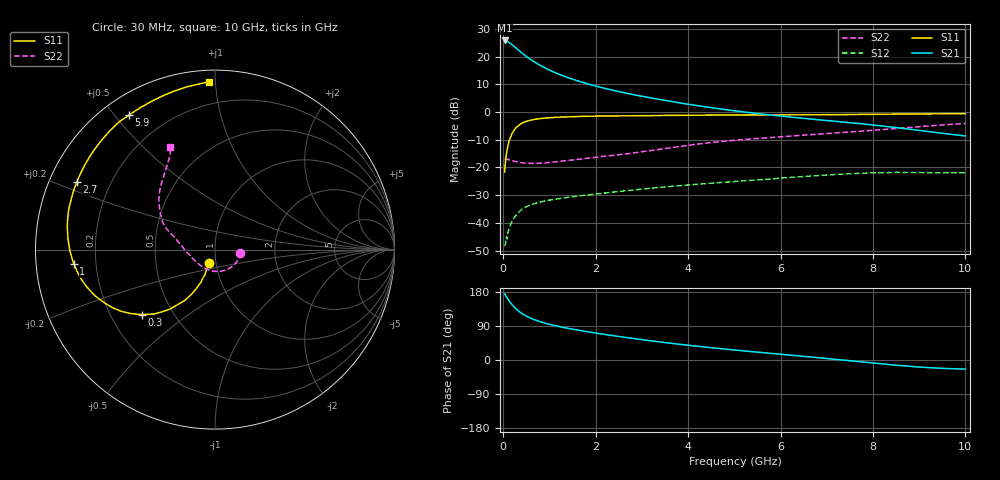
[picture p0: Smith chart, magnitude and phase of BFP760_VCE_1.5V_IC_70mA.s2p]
! Infineon Technologies  Discrete & RF Semiconductors
! BFP760
! VCE =  1.5 V,  IC =  70 mA
! Common Emitter S-Parameters:  Nov 2012
# GHz  S  MA  R  50
!  f  S11  S21  S12  S22
! GHz  MAG  ANG  MAG  ANG  MAG  ANG  MAG  ANG
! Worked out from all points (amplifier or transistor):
!   99 points, 30 MHz to 10 GHz, reference 50 ohm
!   highest |S21| = 25.9 dB at 30 MHz (marker M1)
!   |S21| within 3 dB of that: start of sweep to 295.7 MHz
!   unconditionally stable (mu >= 1): start of sweep to end of sweep
!   at 350 MHz: K = 1.62, MAG = 24.4 dB, |S12| = -35.9 dB
!   at 3.5 GHz: K = 1.77, MAG = 10.5 dB, |S12| = -27.0 dB
!   at 10 GHz: K = 1.75, MAG = 1.6 dB, |S12| = -21.9 dB
!   S11 on the Smith chart (normalised r, x): 30 MHz: 0.92, -0.14; 300 MHz: 0.33, -0.34; 1 GHz: 0.12, -0.05; 2.7 GHz: 0.08, +0.23; 5.9 GHz: 0.08, +0.55; 10 GHz: 0.06, +0.96
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0.03  0.0827 -115.2  19.62 174.9  0.0038 29.6  0.1408 -6.9
0.05  0.1291 -112.7  19.47 170.3  0.0042 33.2  0.1403 -12.5
0.08  0.198 -113.3  18.97 164.5  0.0051 51.4  0.1413 -20.8
0.12  0.2832 -117.9  18.22 157.3  0.0074 51.1  0.1381 -31.6
0.15  0.3403 -121.7  17.48 152.3  0.0088 52.5  0.1361 -39.3
0.2  0.4232 -127.6  16.23 144.7  0.0111 52.9  0.1323 -50.9
0.25  0.4906 -133.1  14.95 138.2  0.013 52.2  0.1287 -61.6
0.3  0.5444 -138.3  13.8 132.4  0.0145 50.4  0.1261 -71.2
0.4  0.6259 -146.7  11.73 123.1  0.0175 47.8  0.1217 -87.7
0.45  0.6549 -150.3  10.9 119.3  0.0186 45.7  0.1203 -94.9
0.6  0.7171 -159.0  8.817 110.1  0.0213 42.3  0.1186 -112.4
0.8  0.7636 -167.6  6.977 101.0  0.0238 39.6  0.1194 -130.1
1  0.7907 -174.2  5.723 94.2  0.0258 38.1  0.1233 -142.5
1.3  0.8147 178.0  4.492 86.0  0.0281 37.4  0.1311 -155.2
1.7  0.8353 169.8  3.471 77.1  0.0311 37.7  0.1422 -166.4
2.7  0.8568 153.9  2.167 58.8  0.0384 38.7  0.1775 176.5
3.4  0.8676 144.3  1.681 47.6  0.0438 38.6  0.2136 167.1
5.1  0.8882 127.8  1.031 25.3  0.0566 36.1  0.3147 154.3
5.9  0.8892 122.6  0.866 16.3  0.0632 34.5  0.3527 148.4
6.7  0.8949 116.9  0.743 7.4  0.0705 31.0  0.3937 142.1
8.5  0.9197 100.3  0.526 -13.7  0.0814 18.8  0.5044 124.2
10  0.936 92.2  0.371 -24.1  0.0804 13.0  0.6236 113.5
